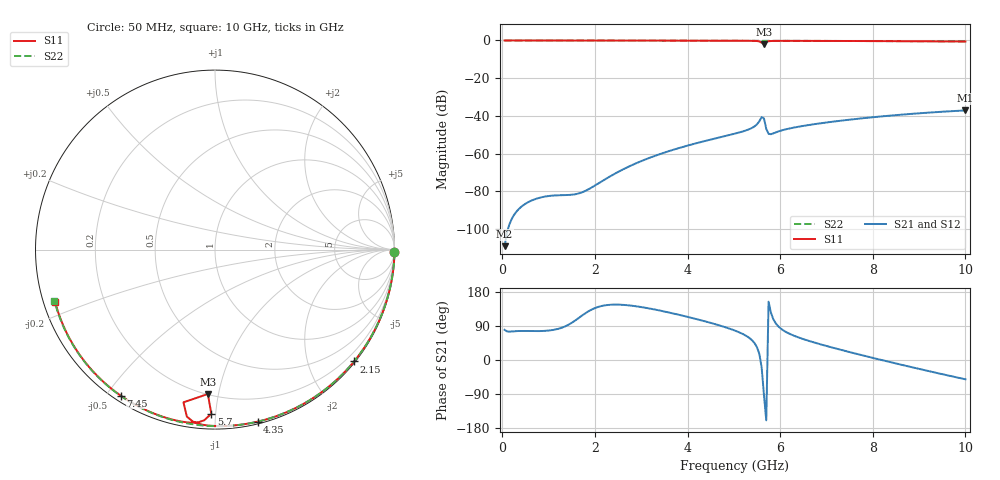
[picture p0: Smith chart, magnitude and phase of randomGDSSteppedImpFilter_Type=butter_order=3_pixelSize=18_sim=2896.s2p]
! freq	dB(S11)	phase(S11)	dB(S12)	phase(S12)
!  dB(S21)	phase(S21)	dB(S22)	phase(S22)
!S-par simulation data
#  GHz  S  DB  R 50
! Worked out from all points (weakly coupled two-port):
!   200 points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, 50 MHz to 10 GHz, reference 50 ohm
!   highest |S21| = -37.12 dB at 10 GHz (marker M1); lowest = -109.2 dB at 50 MHz (marker M2)
!   lowest |S11| = -1.9 dB at 5.65 GHz (marker M3), VSWR 9.29, Z = 10.2 - j46.5 ohm
!   |S11| at or under -10 dB: nowhere
!   |S22| runs from -0.5 to 0.0 dB; largest |S21 - S12| = 0
!   S11 on the Smith chart (normalised r, x): 50 MHz: open; 2.15 GHz: 0.03, -2.84; 4.35 GHz: 0.02, -1.28; 5.7 GHz: 0.09, -0.97; 7.45 GHz: 0.02, -0.54; 10 GHz: 0.03, -0.16
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0.05  -0.00 -0.9  -109.16 79.6  -109.16 79.6  -0.00 -0.9
0.9  -0.02 -16.5  -82.94 76.7  -82.94 76.7  -0.02 -16.5
1.75  -0.04 -31.7  -80.31 119.7  -80.31 119.7  -0.04 -31.8
1.85  -0.04 -33.5  -79.14 127.7  -79.14 127.7  -0.04 -33.6
2.15  -0.05 -38.8  -74.74 142.6  -74.74 142.6  -0.05 -38.9
2.75  -0.06 -49.2  -66.71 143.9  -66.71 143.9  -0.06 -49.3
3.4  -0.08 -60.3  -60.34 130.6  -60.34 130.6  -0.08 -60.4
4.35  -0.11 -76.1  -53.52 102.9  -53.52 102.9  -0.11 -76.1
5.05  -0.14 -87.7  -49.28 76.4  -49.28 76.4  -0.13 -87.2
5.3  -0.17 -92.3  -47.40 61.2  -47.40 61.2  -0.14 -91.1
5.45  -0.23 -95.7  -45.53 44.0  -45.53 44.0  -0.15 -93.5
5.55  -0.50 -99.6  -42.90 16.4  -42.90 16.4  -0.16 -95.0
5.6  -1.22 -101.7  -40.67 -19.0  -40.67 -19.0  -0.16 -95.8
5.65  -1.88 -92.8  -41.36 -91.7  -41.36 -91.7  -0.17 -96.6
5.7  -0.77 -91.3  -46.88 -159.2  -46.88 -159.2  -0.17 -97.3
5.75  -0.42 -93.6  -49.55 153.9  -49.55 153.9  -0.17 -98.1
5.8  -0.30 -95.4  -49.75 125.2  -49.75 125.2  -0.17 -98.9
6.15  -0.21 -102.7  -46.99 72.3  -46.99 72.3  -0.19 -104.2
6.7  -0.23 -111.5  -44.56 47.5  -44.56 47.5  -0.22 -112.5
7.45  -0.28 -122.8  -42.17 22.5  -42.17 22.5  -0.27 -123.7
8.35  -0.36 -136.3  -39.94 -4.8  -39.94 -4.8  -0.35 -137.1
10  -0.56 -161.8  -37.12 -50.9  -37.12 -50.9  -0.55 -162.3
